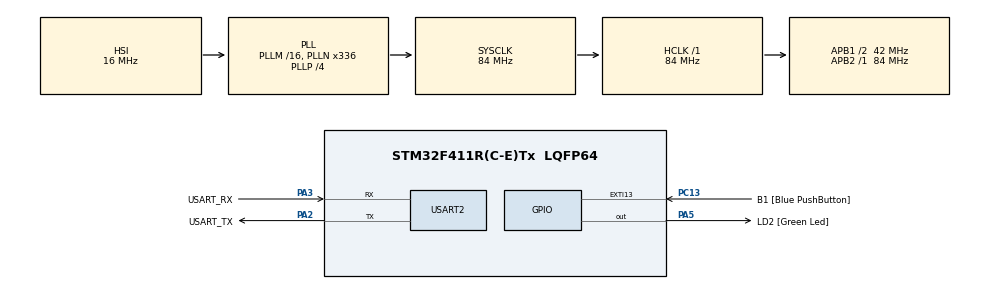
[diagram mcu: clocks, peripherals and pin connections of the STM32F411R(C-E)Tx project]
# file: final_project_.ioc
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Dma.Request0=USART2_TX
Dma.USART2_TX.0.Direction=DMA_MEMORY_TO_PERIPH
Dma.USART2_TX.0.FIFOMode=DMA_FIFOMODE_DISABLE
Dma.USART2_TX.0.Instance=DMA1_Stream6
Dma.USART2_TX.0.MemDataAlignment=DMA_MDATAALIGN_BYTE
Dma.USART2_TX.0.MemInc=DMA_MINC_ENABLE
Dma.USART2_TX.0.Mode=DMA_NORMAL
Dma.USART2_TX.0.PeriphDataAlignment=DMA_PDATAALIGN_BYTE
Dma.USART2_TX.0.PeriphInc=DMA_PINC_DISABLE
Dma.USART2_TX.0.Priority=DMA_PRIORITY_LOW
Mcu.Family=STM32F4
Mcu.Name=STM32F411R(C-E)Tx
Mcu.Package=LQFP64
NVIC.DMA1_Stream6_IRQn=true\:0\:0\:false\:false\:true\:false\:true
NVIC.PriorityGroup=NVIC_PRIORITYGROUP_0
NVIC.USART2_IRQn=true\:0\:0\:false\:false\:true\:true\:true
PA13.GPIO_Label=TMS
PA13.Mode=Serial_Wire
PA13.Signal=SYS_JTMS-SWDIO
PA14.GPIO_Label=TCK
PA14.Mode=Serial_Wire
PA14.Signal=SYS_JTCK-SWCLK
PA2.GPIO_Label=USART_TX
PA2.Mode=Asynchronous
PA2.Signal=USART2_TX
PA3.GPIO_Label=USART_RX
PA3.Mode=Asynchronous
PA3.Signal=USART2_RX
PA5.GPIO_Label=LD2 [Green Led]
PA5.Signal=GPIO_Output
PB3.GPIO_Label=SWO
PB3.Signal=SYS_JTDO-SWO
PC13-ANTI_TAMP.GPIO_Label=B1 [Blue PushButton]
PC13-ANTI_TAMP.GPIO_ModeDefaultEXTI=GPIO_MODE_IT_FALLING
PC13-ANTI_TAMP.Signal=GPXTI13
PC14-OSC32_IN.Mode=LSE-External-Oscillator
PC14-OSC32_IN.Signal=RCC_OSC32_IN
PC15-OSC32_OUT.Mode=LSE-External-Oscillator
PC15-OSC32_OUT.Signal=RCC_OSC32_OUT
PH0\ -\ OSC_IN.Mode=HSE-External-Clock-Source
PH0\ -\ OSC_IN.Signal=RCC_OSC_IN
PH1\ -\ OSC_OUT.Mode=HSE-External-Clock-Source
PH1\ -\ OSC_OUT.Signal=RCC_OSC_OUT
ProjectManager.HeapSize=0x200
ProjectManager.StackSize=0x400
ProjectManager.TargetToolchain=STM32CubeIDE
RCC.48MHZClocksFreq_Value=84000000
RCC.AHBFreq_Value=84000000
RCC.APB1CLKDivider=RCC_HCLK_DIV2
RCC.APB1Freq_Value=42000000
RCC.APB1TimFreq_Value=84000000
RCC.APB2Freq_Value=84000000
RCC.APB2TimFreq_Value=84000000
RCC.CortexFreq_Value=84000000
RCC.FLatency-AdvancedSettings=FLASH_LATENCY_2
RCC.HCLKFreq_Value=84000000
RCC.HSE_VALUE=8000000
RCC.HSI_VALUE=16000000
RCC.PLLN=336
RCC.PLLP=RCC_PLLP_DIV4
RCC.SYSCLKFreq_VALUE=84000000
RCC.SYSCLKSource=RCC_SYSCLKSOURCE_PLLCLK
RCC.VCOOutputFreq_Value=336000000
USART2.VirtualMode=VM_ASYNC
board=NUCLEO-F411RE

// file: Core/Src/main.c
/* USER CODE BEGIN Header */
/**
  ******************************************************************************
  * @file           : main.c
  * @brief          : Main program body
  ******************************************************************************
  * @attention
  *
  * <h2><center>&copy; Copyright (c) 2020 STMicroelectronics.
  * All rights reserved.</center></h2>
  *
  * This software component is licensed by ST under BSD 3-Clause license,
  * the "License"; You may not use this file except in compliance with the
  * License. You may obtain a copy of the License at:
  *                        opensource.org/licenses/BSD-3-Clause
  *
  ******************************************************************************
  */
/* USER CODE END Header */

#include "main.h"

UART_HandleTypeDef huart2;
DMA_HandleTypeDef hdma_usart2_tx;

/* USER CODE BEGIN PV */

uint8_t _clear_screen[10] = "\x1b[2J";
uint8_t set_point[10] = "\x1b[H";
uint8_t greeting_text[100] = "";
uint8_t o[1] = {219};
uint8_t back_ground[100] = "\x1b[48;5;8m";
uint8_t _player[1000] =  "\x1b[38;5;124m"
					   "#### #### ##### ###  ### #### \x1b[1B\x1b[30D"
					   "   # #  # # # # #  #  #  #    \x1b[1B\x1b[30D"
					   "  #  #  # # # # ####  #  ###  \x1b[1B\x1b[30D"
					   " #   #  # # # # #  #  #  #    \x1b[1B\x1b[30D"
					   "#### #### # # # ###  ### #### \x1b[1B\x1b[30D"
					   "\x1b[0m";
uint8_t start[100] = "PRESS ANY KEY TO START";
uint8_t name[100] = "DEVELOPED BY AMNARD LUNGSUN (6130627221) 2020";
uint8_t key_input;
uint8_t clear_line[10] = "\x1b[1K";
int count;
int cha_r;
int cha_c;
int* zom_r;
int* zom_c;
int zom_d;
int m_r;
int m_c;
int*p_r;
int*p_c;
int destination;
int is_game_over;
int scores;
uint8_t score_current[100] = "";
uint8_t game_over[100] = "\333\333\333\333\333\333\333\333\333\333\333\x1b[1B\x1b[11D"
						 "\333\x1b[2;37;40mGAME OVER\x1b[0m\333\x1b[1B\x1b[11D"
						 "\333\333\333\333\333\333\333\333\333\333\333\x1b[1B\x1b[11D";
uint8_t clear_charector[1] = " ";
uint8_t *charector;
uint8_t out[100] = "";
uint8_t test_text[100] = "";
uint8_t check[1] = "#";
uint8_t zombie[1] = "X";
uint8_t player[1] = {219};
int zombie_pos[15] = {21,22,8};
int zom_current;
int zom_max = 5;
uint8_t map[3000] = "#############    #####    ##################################################\x1b[1B\x1b[76D"
					"#    ##    ##    ## ##    ##        ########################################\x1b[1B\x1b[76D"
					"# ## ## ## ##    ## ##    ## ## ### ########################################\x1b[1B\x1b[76D"
					"# ##    ## ##    ## ##    ## ## ### ########################################\x1b[1B\x1b[76D"
					"# ## ##### ######## ######## ## ### ########################################\x1b[1B\x1b[76D"
					"# ##                                ########################################\x1b[1B\x1b[76D"
					"# ##### ## ######## ######## ###### ########################################\x1b[1B\x1b[76D"
					"# ##    ##            ##     ###### ########################################\x1b[1B\x1b[76D"
					"# ## ## ## ## ####### ## ##  ###### ########################################\x1b[1B\x1b[76D"
					"#    ##    ## ##   ##    ##         ########################################\x1b[1B\x1b[76D"
					"# ##### ##### ##      ##### ################################################\x1b[1B\x1b[76D"
					"#    ##    ## ##   ##    ##         ########################################\x1b[1B\x1b[76D"
					"# ## ## ## ## ####### ## ##  ###### ########################################\x1b[1B\x1b[76D"
					"# ##    ##            ##     ###### ########################################\x1b[1B\x1b[76D"
					"# ##### ## ######## ######## ###### ########################################\x1b[1B\x1b[76D"
					"# ##                                ########################################\x1b[1B\x1b[76D"
					"# ## ##### ######## ######## ## ### ########################################\x1b[1B\x1b[76D"
					"# ##    ## ##    ## ##    ## ## ### ########################################\x1b[1B\x1b[76D"
					"# ## ## ## ##    ## ##    ## ## ### ########################################\x1b[1B\x1b[76D"
					"#    ##    ##    ## ##    ##        ########################################\x1b[1B\x1b[76D"
					"#############    #####    ##################################################\x1b[1B\x1b[76D";

/* USER CODE END PV */

void SystemClock_Config(void);
static void MX_GPIO_Init(void);
static void MX_DMA_Init(void);
static void MX_USART2_UART_Init(void);
/* USER CODE BEGIN PFP */

void set_cur_to(int row, int col){
	uint8_t buffer[10] = "";
	sprintf(buffer, "\x1b[%d;%dH", row, col);
	HAL_UART_Transmit(&huart2, buffer, sizeof(buffer), HAL_MAX_DELAY);
}

void clear_screen(){
	HAL_UART_Transmit(&huart2, _clear_screen, sizeof(_clear_screen), HAL_MAX_DELAY);
}

void animation_E(int row, int col) {
	for(int i = 4; i > 0; i--) {
		set_cur_to(1+row, i+col);
		HAL_UART_Transmit(&huart2, o, sizeof(o), HAL_MAX_DELAY);
		HAL_Delay(150);
	}
	for(int i = 2; i < 6; i++) {
			set_cur_to(i+row, 1+col);
			HAL_UART_Transmit(&huart2, o, sizeof(o), HAL_MAX_DELAY);
			HAL_Delay(150);
	}
	for(int i = 2; i < 5; i++) {
			set_cur_to(5+row, i+col);
			HAL_UART_Transmit(&huart2, o, sizeof(o), HAL_MAX_DELAY);
			HAL_Delay(150);
	}
	for(int i = 2; i < 5; i++) {
			set_cur_to(3+row, i+col);
			HAL_UART_Transmit(&huart2, o, sizeof(o), HAL_MAX_DELAY);
			HAL_Delay(150);
	}

}

void animation_C(int row, int col) {
	for(int i = 4; i > 0; i--) {
		set_cur_to(1+row, i+col);
		HAL_UART_Transmit(&huart2, o, sizeof(o), HAL_MAX_DELAY);
		HAL_Delay(150);
	}
	for(int i = 2; i < 6; i++) {
			set_cur_to(i+row, 1+col);
			HAL_UART_Transmit(&huart2, o, sizeof(o), HAL_MAX_DELAY);
			HAL_Delay(150);
	}
	for(int i = 2; i < 5; i++) {
			set_cur_to(5+row, i+col);
			HAL_UART_Transmit(&huart2, o, sizeof(o), HAL_MAX_DELAY);
			HAL_Delay(150);
	}
}

void animation_A(int row, int col) {
	for(int i = 5; i > 0; i--) {
			set_cur_to(i+row, 1+col);
			HAL_UART_Transmit(&huart2, o, sizeof(o), HAL_MAX_DELAY);
			HAL_Delay(150);
	}
	for(int i = 2; i < 5; i++) {
			set_cur_to(1+row, i+col);
			HAL_UART_Transmit(&huart2, o, sizeof(o), HAL_MAX_DELAY);
			HAL_Delay(150);
	}
	for(int i = 2; i < 6; i++) {
			set_cur_to(i+row, 4+col);
			HAL_UART_Transmit(&huart2, o, sizeof(o), HAL_MAX_DELAY);
			HAL_Delay(150);
	}
	for(int i = 2; i < 5; i++) {
			set_cur_to(3+row, i+col);
			HAL_UART_Transmit(&huart2, o, sizeof(o), HAL_MAX_DELAY);
			HAL_Delay(150);
	}

}

void animation_P(int row, int col) {
	for(int i = 5; i > 0; i--) {
			set_cur_to(i+row, 1+col);
			HAL_UART_Transmit(&huart2, o, sizeof(o), HAL_MAX_DELAY);
			HAL_Delay(150);
	}
	for(int i = 2; i < 5; i++) {
			set_cur_to(1+row, i+col);
			HAL_UART_Transmit(&huart2, o, sizeof(o), HAL_MAX_DELAY);
			HAL_Delay(150);
	}
	for(int i = 2; i < 4; i++) {
			set_cur_to(i+row, 4+col);
			HAL_UART_Transmit(&huart2, o, sizeof(o), HAL_MAX_DELAY);
			HAL_Delay(150);
	}
	for(int i = 4; i > 1; i--) {
			set_cur_to(3+row, i+col);
			HAL_UART_Transmit(&huart2, o, sizeof(o), HAL_MAX_DELAY);
			HAL_Delay(150);
	}

}

void animation_S(int row, int col) {
	for(int i = 4; i > 0; i--) {
			set_cur_to(1+row, i+col);
			HAL_UART_Transmit(&huart2, o, sizeof(o), HAL_MAX_DELAY);
			HAL_Delay(150);
	}
	for(int i = 2; i < 4; i++) {
			set_cur_to(i+row, 1+col);
			HAL_UART_Transmit(&huart2, o, sizeof(o), HAL_MAX_DELAY);
			HAL_Delay(150);
	}
	for(int i = 2; i < 5; i++) {
			set_cur_to(3+row, i+col);
			HAL_UART_Transmit(&huart2, o, sizeof(o), HAL_MAX_DELAY);
			HAL_Delay(150);
	}
	for(int i = 4; i < 6; i++) {
			set_cur_to(i+row, 4+col);
			HAL_UART_Transmit(&huart2, o, sizeof(o), HAL_MAX_DELAY);
			HAL_Delay(150);
	}
	for(int i = 4; i > 0; i--) {
			set_cur_to(5+row, i+col);
			HAL_UART_Transmit(&huart2, o, sizeof(o), HAL_MAX_DELAY);
			HAL_Delay(150);
	}
}

void disp_start_scene() {
	clear_screen();
	animation_E(2,25);
	animation_S(2,30);
	animation_C(2,35);
	animation_A(2,40);
	animation_P(2,45);
	animation_E(2,50);
	set_cur_to(9, 26);
	HAL_UART_Transmit(&huart2, _player, sizeof(_player), HAL_MAX_DELAY);

	set_cur_to(18, 30);
	HAL_UART_Transmit(&huart2, start, sizeof(start), HAL_MAX_DELAY);

	set_cur_to(22, 18);
	HAL_UART_Transmit(&huart2, name, sizeof(name), HAL_MAX_DELAY);

	count = 0;
	key_input = 0;
	while(key_input == 0) {
		HAL_Delay(10);
		if(count == 70) {
			set_cur_to(18, 52);
			HAL_UART_Transmit(&huart2, clear_line, sizeof(clear_line), HAL_MAX_DELAY);
		}
		if(count == 90) {
			set_cur_to(18, 30);
			HAL_UART_Transmit(&huart2, start, sizeof(start), HAL_MAX_DELAY);
			count = 0;
		}
		count++;
		set_cur_to(25, 80);
	}
	clear_screen();
}

void disp_map() {
	uint8_t box[1] = {177};
	uint8_t space[10] = "\40";
	set_cur_to(3, 3);
	for(int r = 3;r < 24; r++) {
		for(int c = 3; c < 79; c++) {
				set_cur_to(r, c);
			  	if(map[((r-3)*85)+(c-3)] == 35) {
			  		HAL_UART_Transmit(&huart2, box, sizeof(box), HAL_MAX_DELAY);
			  	} else {
			  		HAL_UART_Transmit(&huart2, space, sizeof(space), HAL_MAX_DELAY);
			  	}
			  	HAL_Delay(2);
		}

	}
	key_input = 0;
	cha_c = 20;
	cha_r = 13;
	set_cur_to(cha_r, cha_c);
	HAL_UART_Transmit(&huart2, player, sizeof(player), HAL_MAX_DELAY);
	score_inintial();
	zom_current = 1;
	zombie_generate();
//	HAL_UART_Transmit(&huart2, map, sizeof(map), HAL_MAX_DELAY);
		sprintf(test_text, "press W(up) A(left) S(down) D(Right)" );
		set_cur_to(2, 3);
		HAL_UART_Transmit(&huart2, test_text, sizeof(test_text), HAL_MAX_DELAY);
}

void move(uint8_t input,int who) {
	if(who == 1) { //zombie
		m_r = *zom_r;
		m_c = *zom_c;
		p_r = zom_r;
		p_c = zom_c;
		charector = zombie;
	} else {
		m_r = cha_r;
		m_c = cha_c;
		p_r = &cha_r;
		p_c = &cha_c;
		charector = player;
	}

	switch (input)
	{
	    case 97:// a
	    	if(!moveable(m_r, m_c-1)) break;
	    	if(collision(m_r, m_c-1,who)) {
	    		is_game_over = 1;
	    		break;
	    	}
	    	set_cur_to(m_r, m_c);
	    	HAL_UART_Transmit(&huart2, clear_charector, sizeof(clear_charector), HAL_MAX_DELAY);
	    	(*p_c)--;
	    	set_cur_to(*p_r, *p_c);
	    	HAL_UART_Transmit(&huart2, charector, sizeof(charector), HAL_MAX_DELAY);
	    	break;

	    case 100:// d
	    	if(!moveable(m_r, m_c+1)) break;
	    	if(collision(m_r, m_c+1,who)) {
	    		is_game_over = 1;
	    		break;
	    	}
	    	set_cur_to(m_r, m_c);
	    	HAL_UART_Transmit(&huart2, clear_charector, sizeof(clear_charector), HAL_MAX_DELAY);
	    	(*p_c)++;
	    	set_cur_to(*p_r, *p_c);
	    	HAL_UART_Transmit(&huart2, charector, sizeof(charector), HAL_MAX_DELAY);
	    	break;

	    case 115:// s
	    	if(!moveable(m_r+1, m_c)) break;
	    	if(collision(m_r+1, m_c,who)) {
	    		is_game_over = 1;
	    		break;
	    	}
	    	set_cur_to(m_r, m_c);
	    	HAL_UART_Transmit(&huart2, clear_charector, sizeof(clear_charector), HAL_MAX_DELAY);
	    	(*p_r)++;
	    	set_cur_to(*p_r, *p_c);
	    	HAL_UART_Transmit(&huart2, charector, sizeof(charector), HAL_MAX_DELAY);
	    	break;

	    case 119:// w
	    	if(!moveable(m_r-1, m_c)) break;
	    	if(collision(m_r-1, m_c,who)) {
	    		is_game_over = 1;
	    		break;
	    	}
	    	set_cur_to(m_r, m_c);
	    	HAL_UART_Transmit(&huart2, clear_charector, sizeof(clear_charector), HAL_MAX_DELAY);
	    	(*p_r)--;
	    	set_cur_to(*p_r, *p_c);
	    	HAL_UART_Transmit(&huart2, charector, sizeof(charector), HAL_MAX_DELAY);
	    	break;

	    default:
	    	break;

	}
	set_cur_to(25, 80);
}

int moveable(int row, int col) {
//	out = &map[((row-3)*85)+(col-3)];
//	sprintf(test_text, "ASCII value = %c decimal = %u" ,map[((row-3)*85)+(col-3)], map[((row-3)*85)+(col-3)]);
//	set_cur_to(1, 1);
//	HAL_UART_Transmit(&huart2, test_text, sizeof(test_text), HAL_MAX_DELAY);
//	HAL_Delay(1000);
//	set_cur_to(1, 30);
//	HAL_UART_Transmit(&huart2, clear_line, sizeof(clear_line), HAL_MAX_DELAY);
	if(map[((row-3)*85)+(col-3)] == 35) return 0;
	return 1;
}

void zombie_generate() {
	int z = zom_current-1;
	if(z%2 == 1) {
		zombie_pos[(z*3)] = 22;
		zombie_pos[(z*3)+1] = 22;
		zombie_pos[(z*3)+2] = 8;
	} else {
		zombie_pos[(z*3)] = 4;
		zombie_pos[(z*3)+1] = 22;
		zombie_pos[(z*3)+2] = 5;
	}
}

void zombie_update() {

	if(zom_current <= scores/60 && zom_current < zom_max) {
		zom_current++;
		zombie_generate();

	}

	for(int z = 0; z < zom_current; z++) {
		zom_r = &zombie_pos[(z*3)];
		zom_c = &zombie_pos[(z*3)+1];
		zom_d = zombie_pos[(z*3)+2];
		switch (zom_d)
		{
			case 8:
				if(moveable(*zom_r-1, *zom_c)) {
					if(moveable(*zom_r, *zom_c-1)||moveable(*zom_r, *zom_c+1)) {
						destination = rand()%3;
						switch (destination)
						{
							case 0:
								move(119,1);
								break;
							case 1:
								if(moveable(*zom_r, *zom_c-1)) {
									move(97,1);
									zombie_pos[(z*3)+2] = 4;
								} else {
									move(100,1);
									zombie_pos[(z*3)+2] = 6;
								}
								break;
							case 2:
								if(moveable(*zom_r, *zom_c+1)) {
									move(100,1);
									zombie_pos[(z*3)+2] = 6;
								} else {
									move(97,1);
									zombie_pos[(z*3)+2] = 4;
								}
								break;
							default:
								break;
						}
					} else {
						move(119,1);
					}

				} else {
					if(moveable(*zom_r, *zom_c-1)||moveable(*zom_r, *zom_c+1)) {
						destination = rand()%2;
						switch (destination)
						{
							case 0:
								if(moveable(*zom_r, *zom_c+1)) {
									move(100,1);
									zombie_pos[(z*3)+2] = 6;
								} else {
									move(97,1);
									zombie_pos[(z*3)+2] = 4;
								}
								break;
							case 1:
								if(moveable(*zom_r, *zom_c-1)) {
									move(97,1);
									zombie_pos[(z*3)+2] = 4;
								} else {
									move(100,1);
									zombie_pos[(z*3)+2] = 6;
								}
								break;
							default:
								break;
						}
					} else {
						move(115,1);
						zombie_pos[(z*3)+2] = 5;
					}
				}
				break;
			case 4:
				if(moveable(*zom_r, *zom_c-1)) {
					if(moveable(*zom_r-1, *zom_c)||moveable(*zom_r+1, *zom_c)) {
						destination = rand()%3;
						switch (destination)
						{
							case 0:
								move(97,1);
								break;
							case 1:
								if(moveable(*zom_r-1, *zom_c)) {
									move(119,1);
									zombie_pos[(z*3)+2] = 8;
								} else {
									move(115,1);
									zombie_pos[(z*3)+2] = 5;
								}
								break;
							case 2:
								if(moveable(*zom_r+1, *zom_c)) {
									move(115,1);
									zombie_pos[(z*3)+2] = 5;
								} else {
									move(119,1);
									zombie_pos[(z*3)+2] = 8;
								}
								break;
							default:
								break;
						}
					} else {
						move(97,1);
					}

				} else {
					if(moveable(*zom_r-1, *zom_c)||moveable(*zom_r+1, *zom_c)) {
						destination = rand()%2;
						switch (destination)
						{
							case 0:
								if(moveable(*zom_r-1, *zom_c)) {
									move(119,1);
									zombie_pos[(z*3)+2] = 8;
								} else {
									move(115,1);
									zombie_pos[(z*3)+2] = 5;
								}
								break;
							case 1:
								if(moveable(*zom_r+1, *zom_c)) {
									move(115,1);
									zombie_pos[(z*3)+2] = 5;
								} else {
									move(119,1);
									zombie_pos[(z*3)+2] = 8;
								}
								break;
							default:
								break;
						}
					} else {
						move(100,1);
						zombie_pos[(z*3)+2] = 6;
					}
				}
				break;
			case 5:
				if(moveable(*zom_r+1, *zom_c)) {
					if(moveable(*zom_r, *zom_c-1)||moveable(*zom_r, *zom_c+1)) {
						destination = rand()%3;
						switch (destination)
						{
							case 0:
								move(115,1);
								break;
							case 1:
								if(moveable(*zom_r, *zom_c-1)) {
									move(97,1);
									zombie_pos[(z*3)+2] = 4;
								} else {
									move(100,1);
									zombie_pos[(z*3)+2] = 6;
								}
								break;
							case 2:
								if(moveable(*zom_r, *zom_c+1)) {
									move(100,1);
									zombie_pos[(z*3)+2] = 6;
								} else {
									move(97,1);
									zombie_pos[(z*3)+2] = 4;
								}
								break;
							default:
								break;
						}
					} else {
						move(115,1);
					}

				} else {
					if(moveable(*zom_r, *zom_c-1)||moveable(*zom_r, *zom_c+1)) {
						destination = rand()%2;
						switch (destination)
						{
							case 0:
								if(moveable(*zom_r, *zom_c+1)) {
									move(100,1);
									zombie_pos[(z*3)+2] = 6;
								} else {
									move(97,1);
									zombie_pos[(z*3)+2] = 4;
								}
								break;
							case 1:
								if(moveable(*zom_r, *zom_c-1)) {
									move(97,1);
									zombie_pos[(z*3)+2] = 4;
								} else {
									move(100,1);
									zombie_pos[(z*3)+2] = 6;
								}
								break;
							default:
								break;
						}
					} else {
						move(119,1);
						zombie_pos[(z*3)+2] = 8;
					}
				}
				break;
			case 6:
				if(moveable(*zom_r, *zom_c+1)) {
					if(moveable(*zom_r-1, *zom_c)||moveable(*zom_r+1, *zom_c)) {
						destination = rand()%3;
						switch (destination)
						{
							case 0:
								move(100,1);
								break;
							case 1:
								if(moveable(*zom_r-1, *zom_c)) {
									move(119,1);
									zombie_pos[(z*3)+2] = 8;
								} else {
									move(115,1);
									zombie_pos[(z*3)+2] = 5;
								}
								break;
							case 2:
								if(moveable(*zom_r+1, *zom_c)) {
									move(115,1);
									zombie_pos[(z*3)+2] = 5;
								} else {
									move(119,1);
									zombie_pos[(z*3)+2] = 8;
								}
								break;
							default:
								break;
						}
					} else {
						move(100,1);
					}

				} else {
					if(moveable(*zom_r-1, *zom_c)||moveable(*zom_r+1, *zom_c)) {
						destination = rand()%2;
						switch (destination)
						{
							case 0:
								if(moveable(*zom_r-1, *zom_c)) {
									move(119,1);
									zombie_pos[(z*3)+2] = 8;
								} else {
									move(115,1);
									zombie_pos[(z*3)+2] = 5;
								}
								break;
							case 1:
								if(moveable(*zom_r+1, *zom_c)) {
									move(115,1);
									zombie_pos[(z*3)+2] = 5;
								} else {
									move(119,1);
									zombie_pos[(z*3)+2] = 8;
								}
								break;
							default:
								break;
						}
					} else {
						move(97,1);
						zombie_pos[(z*3)+2] = 4;
					}
				}
				break;
			default:
				break;
		}

	}
//	 sprintf(out, "random = %d value = %d     " ,destination,rand());
//	 set_cur_to(2, 1);
//	 HAL_UART_Transmit(&huart2, out, sizeof(out), HAL_MAX_DELAY);
//	 HAL_Delay(400);
//	 set_cur_to(2, 30);
//	 HAL_UART_Transmit(&huart2, clear_line, sizeof(clear_line), HAL_MAX_DELAY);
}

int collision(int row, int col,int who) {
	if(who == 1) {
		if(row == cha_r && col == cha_c) return 1;
	} else {
		for(int z = 0; z < zom_current; z++) {
				zom_r = &zombie_pos[(z*3)];
				zom_c = &zombie_pos[(z*3)+1];
				if(row == zom_r && col == zom_c) return 1;
		}
	}
	return 0;
}

void player_update(uint8_t input) {
	move(input,0);
}

void score_inintial() {
	scores = 0;
}

void score_update() {
	sprintf(score_current,"SCORES : %d  ", scores);
	scores++;
	set_cur_to(2, 66);
	HAL_UART_Transmit(&huart2, score_current, sizeof(score_current), HAL_MAX_DELAY);
	set_cur_to(25, 80);
}

void gameOver() {
	key_input = 0;
	set_cur_to(10, 34);
	HAL_UART_Transmit(&huart2, game_over, sizeof(game_over), HAL_MAX_DELAY);
	set_cur_to(25, 80);
	HAL_Delay(3000);
	while(key_input == 0) {
	}
	clear_screen();
}

/* USER CODE END PFP */

/* USER CODE BEGIN 0 */

void HAL_UART_RxCpltCallback(UART_HandleTypeDef *huart) {
	HAL_UART_Receive_IT(&huart2, &key_input, sizeof(key_input));
}

/* USER CODE END 0 */

int main(void)
{

  /* MCU Configuration--------------------------------------------------------*/

  /* Reset of all peripherals, Initializes the Flash interface and the Systick. */
  HAL_Init();

  /* Configure the system clock */
  SystemClock_Config();

  /* Initialize all configured peripherals */
  MX_GPIO_Init();
  MX_DMA_Init();
  MX_USART2_UART_Init();
  /* USER CODE BEGIN 2 */

  int frame = 0;
  int frame_rate = 300000;

  /* USER CODE END 2 */

  /* Infinite loop */
  /* USER CODE BEGIN WHILE */

  HAL_Delay(2000);
  srand(time(0));
  HAL_UART_Receive_IT(&huart2, &key_input, sizeof(key_input));

  while (1)
  {
		is_game_over = 0;
		disp_start_scene();
		disp_map();

		while(!is_game_over) {
			if(frame%10000 == 0) {
				player_update(key_input);
				key_input = 0;
			}
			if(frame == frame_rate) {
				zombie_update();
				score_update();
				frame = 0;
			}
			frame++;
		}

		gameOver();

    /* USER CODE END WHILE */

    /* USER CODE BEGIN 3 */
		//			 sprintf(test_text, "r = %d c = %d d = %d r = %d c = %d d = %d            " ,zombie_pos[0],zombie_pos[1], zombie_pos[2],zombie_pos[3],zombie_pos[4], zombie_pos[5]);
		//			 set_cur_to(1, 1);
		//		 	HAL_UART_Transmit(&huart2, test_text, sizeof(test_text), HAL_MAX_DELAY);
		//		 	HAL_Delay(400);
		//		 	set_cur_to(1, 30);
		//		 	HAL_UART_Transmit(&huart2, clear_line, sizeof(clear_line), HAL_MAX_DELAY);
  }
  /* USER CODE END 3 */
}

void SystemClock_Config(void)
{
  RCC_OscInitTypeDef RCC_OscInitStruct = {0};
  RCC_ClkInitTypeDef RCC_ClkInitStruct = {0};

  /** Configure the main internal regulator output voltage
  */
  __HAL_RCC_PWR_CLK_ENABLE();
  __HAL_PWR_VOLTAGESCALING_CONFIG(PWR_REGULATOR_VOLTAGE_SCALE1);
  /** Initializes the CPU, AHB and APB busses clocks
  */
  RCC_OscInitStruct.OscillatorType = RCC_OSCILLATORTYPE_HSI;
  RCC_OscInitStruct.HSIState = RCC_HSI_ON;
  RCC_OscInitStruct.HSICalibrationValue = RCC_HSICALIBRATION_DEFAULT;
  RCC_OscInitStruct.PLL.PLLState = RCC_PLL_ON;
  RCC_OscInitStruct.PLL.PLLSource = RCC_PLLSOURCE_HSI;
  RCC_OscInitStruct.PLL.PLLM = 16;
  RCC_OscInitStruct.PLL.PLLN = 336;
  RCC_OscInitStruct.PLL.PLLP = RCC_PLLP_DIV4;
  RCC_OscInitStruct.PLL.PLLQ = 4;
  if (HAL_RCC_OscConfig(&RCC_OscInitStruct) != HAL_OK)
  {
    Error_Handler();
  }
  /** Initializes the CPU, AHB and APB busses clocks
  */
  RCC_ClkInitStruct.ClockType = RCC_CLOCKTYPE_HCLK|RCC_CLOCKTYPE_SYSCLK
                              |RCC_CLOCKTYPE_PCLK1|RCC_CLOCKTYPE_PCLK2;
  RCC_ClkInitStruct.SYSCLKSource = RCC_SYSCLKSOURCE_PLLCLK;
  RCC_ClkInitStruct.AHBCLKDivider = RCC_SYSCLK_DIV1;
  RCC_ClkInitStruct.APB1CLKDivider = RCC_HCLK_DIV2;
  RCC_ClkInitStruct.APB2CLKDivider = RCC_HCLK_DIV1;

  if (HAL_RCC_ClockConfig(&RCC_ClkInitStruct, FLASH_LATENCY_2) != HAL_OK)
  {
    Error_Handler();
  }
}

static void MX_USART2_UART_Init(void)
{

  huart2.Instance = USART2;
  huart2.Init.BaudRate = 115200;
  huart2.Init.WordLength = UART_WORDLENGTH_8B;
  huart2.Init.StopBits = UART_STOPBITS_1;
  huart2.Init.Parity = UART_PARITY_NONE;
  huart2.Init.Mode = UART_MODE_TX_RX;
  huart2.Init.HwFlowCtl = UART_HWCONTROL_NONE;
  huart2.Init.OverSampling = UART_OVERSAMPLING_16;
  if (HAL_UART_Init(&huart2) != HAL_OK)
  {
    Error_Handler();
  }

}

static void MX_DMA_Init(void)
{

  /* DMA controller clock enable */
  __HAL_RCC_DMA1_CLK_ENABLE();

  /* DMA interrupt init */
  /* DMA1_Stream6_IRQn interrupt configuration */
  HAL_NVIC_SetPriority(DMA1_Stream6_IRQn, 0, 0);
  HAL_NVIC_EnableIRQ(DMA1_Stream6_IRQn);

}

static void MX_GPIO_Init(void)
{
  GPIO_InitTypeDef GPIO_InitStruct = {0};

  /* GPIO Ports Clock Enable */
  __HAL_RCC_GPIOC_CLK_ENABLE();
  __HAL_RCC_GPIOH_CLK_ENABLE();
  __HAL_RCC_GPIOA_CLK_ENABLE();
  __HAL_RCC_GPIOB_CLK_ENABLE();

  /*Configure GPIO pin Output Level */
  HAL_GPIO_WritePin(LD2_GPIO_Port, LD2_Pin, GPIO_PIN_RESET);

  /*Configure GPIO pin : B1_Pin */
  GPIO_InitStruct.Pin = B1_Pin;
  GPIO_InitStruct.Mode = GPIO_MODE_IT_FALLING;
  GPIO_InitStruct.Pull = GPIO_NOPULL;
  HAL_GPIO_Init(B1_GPIO_Port, &GPIO_InitStruct);

  /*Configure GPIO pin : LD2_Pin */
  GPIO_InitStruct.Pin = LD2_Pin;
  GPIO_InitStruct.Mode = GPIO_MODE_OUTPUT_PP;
  GPIO_InitStruct.Pull = GPIO_NOPULL;
  GPIO_InitStruct.Speed = GPIO_SPEED_FREQ_LOW;
  HAL_GPIO_Init(LD2_GPIO_Port, &GPIO_InitStruct);

}

void Error_Handler(void)
{
}

/************************ (C) COPYRIGHT STMicroelectronics *****END OF FILE****/
